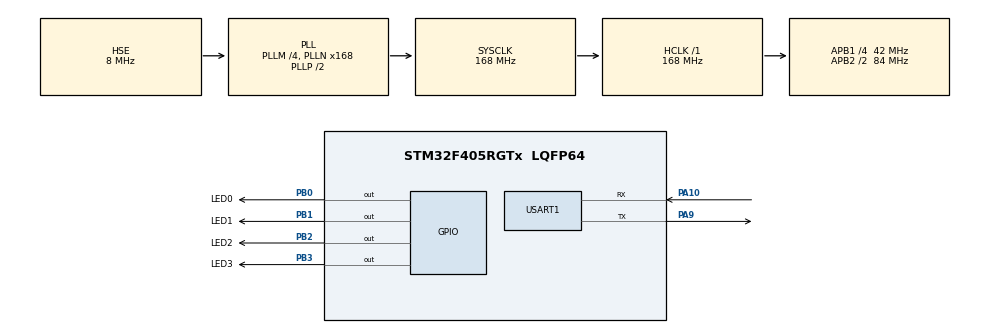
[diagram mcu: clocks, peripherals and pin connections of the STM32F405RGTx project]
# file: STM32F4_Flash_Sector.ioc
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Mcu.Family=STM32F4
Mcu.Name=STM32F405RGTx
Mcu.Package=LQFP64
NVIC.PriorityGroup=NVIC_PRIORITYGROUP_4
PA10.Mode=Asynchronous
PA10.Signal=USART1_RX
PA9.Mode=Asynchronous
PA9.Signal=USART1_TX
PB0.GPIO_Label=LED0
PB0.Signal=GPIO_Output
PB1.GPIO_Label=LED1
PB1.Signal=GPIO_Output
PB2.GPIO_Label=LED2
PB2.Signal=GPIO_Output
PB3.GPIO_Label=LED3
PB3.Signal=GPIO_Output
PH0-OSC_IN.Mode=HSE-External-Oscillator
PH0-OSC_IN.Signal=RCC_OSC_IN
PH1-OSC_OUT.Mode=HSE-External-Oscillator
PH1-OSC_OUT.Signal=RCC_OSC_OUT
ProjectManager.HeapSize=0x200
ProjectManager.StackSize=0x400
ProjectManager.TargetToolchain=STM32CubeIDE
RCC.48MHZClocksFreq_Value=84000000
RCC.AHBFreq_Value=168000000
RCC.APB1CLKDivider=RCC_HCLK_DIV4
RCC.APB1Freq_Value=42000000
RCC.APB1TimFreq_Value=84000000
RCC.APB2CLKDivider=RCC_HCLK_DIV2
RCC.APB2Freq_Value=84000000
RCC.APB2TimFreq_Value=168000000
RCC.CortexFreq_Value=168000000
RCC.HCLKFreq_Value=168000000
RCC.HSE_VALUE=8000000
RCC.HSI_VALUE=16000000
RCC.LSE_VALUE=32768
RCC.PLLM=4
RCC.PLLN=168
RCC.PLLSourceVirtual=RCC_PLLSOURCE_HSE
RCC.SYSCLKFreq_VALUE=168000000
RCC.SYSCLKSource=RCC_SYSCLKSOURCE_PLLCLK
RCC.VCOOutputFreq_Value=336000000
USART1.VirtualMode=VM_ASYNC
board=custom

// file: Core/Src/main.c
/* USER CODE BEGIN Header */
/**
  ******************************************************************************
  * @file           : main.c
  * @brief          : Main program body
  ******************************************************************************
  * @attention
  *
  * Copyright (c) 2022 STMicroelectronics.
  * All rights reserved.
  *
  * This software is licensed under terms that can be found in the LICENSE file
  * in the root directory of this software component.
  * If no LICENSE file comes with this software, it is provided AS-IS.
  *
  ******************************************************************************
  */
/* USER CODE END Header */
#include "main.h"

/* USER CODE BEGIN Includes */
#include <string.h>
#include <stdio.h>
#include "Flash.h"
/* USER CODE END Includes */

UART_HandleTypeDef huart1;

void SystemClock_Config(void);
static void MX_GPIO_Init(void);
static void MX_USART1_UART_Init(void);
/* USER CODE BEGIN PFP */
#ifdef __GNUC__
/* With GCC/RAISONANCE, small printf (option LD Linker->Libraries->Small printf
 set to 'Yes') calls __io_putchar() */
#define PUTCHAR_PROTOTYPE int __io_putchar(int ch)
#else
 #define PUTCHAR_PROTOTYPE int fputc(int ch, FILE *f)
#endif /* __GNUC__ */
/* USER CODE END PFP */

int main(void)
{
  /* USER CODE BEGIN 1 */
  uint8_t buffer[14] = "Hello World!\r\n";
  /* USER CODE END 1 */

  /* MCU Configuration--------------------------------------------------------*/

  /* Reset of all peripherals, Initializes the Flash interface and the Systick. */
  HAL_Init();

  /* Configure the system clock */
  SystemClock_Config();

  /* Initialize all configured peripherals */
  MX_GPIO_Init();
  MX_USART1_UART_Init();
  /* USER CODE BEGIN 2 */
  HAL_FLASH_Unlock();
  /* USER CODE END 2 */

  /* Infinite loop */
  /* USER CODE BEGIN WHILE */
  while (1)
  {
	  printf("Write to Flash\r\n");
	  FLASH_Write(0, buffer, sizeof(buffer), DATA_TYPE_8);
	  HAL_GPIO_TogglePin(LED0_GPIO_Port, LED0_Pin);
	  printf("Done!\r\n");
	  HAL_Delay(500);
    /* USER CODE END WHILE */

  }
}

void SystemClock_Config(void)
{
  RCC_OscInitTypeDef RCC_OscInitStruct = {0};
  RCC_ClkInitTypeDef RCC_ClkInitStruct = {0};

  /** Configure the main internal regulator output voltage
  */
  __HAL_RCC_PWR_CLK_ENABLE();
  __HAL_PWR_VOLTAGESCALING_CONFIG(PWR_REGULATOR_VOLTAGE_SCALE1);

  /** Initializes the RCC Oscillators according to the specified parameters
  * in the RCC_OscInitTypeDef structure.
  */
  RCC_OscInitStruct.OscillatorType = RCC_OSCILLATORTYPE_HSE;
  RCC_OscInitStruct.HSEState = RCC_HSE_ON;
  RCC_OscInitStruct.PLL.PLLState = RCC_PLL_ON;
  RCC_OscInitStruct.PLL.PLLSource = RCC_PLLSOURCE_HSE;
  RCC_OscInitStruct.PLL.PLLM = 4;
  RCC_OscInitStruct.PLL.PLLN = 168;
  RCC_OscInitStruct.PLL.PLLP = RCC_PLLP_DIV2;
  RCC_OscInitStruct.PLL.PLLQ = 4;
  if (HAL_RCC_OscConfig(&RCC_OscInitStruct) != HAL_OK)
  {
    Error_Handler();
  }

  /** Initializes the CPU, AHB and APB buses clocks
  */
  RCC_ClkInitStruct.ClockType = RCC_CLOCKTYPE_HCLK|RCC_CLOCKTYPE_SYSCLK
                              |RCC_CLOCKTYPE_PCLK1|RCC_CLOCKTYPE_PCLK2;
  RCC_ClkInitStruct.SYSCLKSource = RCC_SYSCLKSOURCE_PLLCLK;
  RCC_ClkInitStruct.AHBCLKDivider = RCC_SYSCLK_DIV1;
  RCC_ClkInitStruct.APB1CLKDivider = RCC_HCLK_DIV4;
  RCC_ClkInitStruct.APB2CLKDivider = RCC_HCLK_DIV2;

  if (HAL_RCC_ClockConfig(&RCC_ClkInitStruct, FLASH_LATENCY_5) != HAL_OK)
  {
    Error_Handler();
  }
}

static void MX_USART1_UART_Init(void)
{

  huart1.Instance = USART1;
  huart1.Init.BaudRate = 115200;
  huart1.Init.WordLength = UART_WORDLENGTH_8B;
  huart1.Init.StopBits = UART_STOPBITS_1;
  huart1.Init.Parity = UART_PARITY_NONE;
  huart1.Init.Mode = UART_MODE_TX_RX;
  huart1.Init.HwFlowCtl = UART_HWCONTROL_NONE;
  huart1.Init.OverSampling = UART_OVERSAMPLING_16;
  if (HAL_UART_Init(&huart1) != HAL_OK)
  {
    Error_Handler();
  }

}

static void MX_GPIO_Init(void)
{
  GPIO_InitTypeDef GPIO_InitStruct = {0};

  /* GPIO Ports Clock Enable */
  __HAL_RCC_GPIOH_CLK_ENABLE();
  __HAL_RCC_GPIOB_CLK_ENABLE();
  __HAL_RCC_GPIOA_CLK_ENABLE();

  /*Configure GPIO pin Output Level */
  HAL_GPIO_WritePin(GPIOB, LED0_Pin|LED1_Pin|LED2_Pin|LED3_Pin, GPIO_PIN_RESET);

  /*Configure GPIO pins : LED0_Pin LED1_Pin LED2_Pin LED3_Pin */
  GPIO_InitStruct.Pin = LED0_Pin|LED1_Pin|LED2_Pin|LED3_Pin;
  GPIO_InitStruct.Mode = GPIO_MODE_OUTPUT_PP;
  GPIO_InitStruct.Pull = GPIO_NOPULL;
  GPIO_InitStruct.Speed = GPIO_SPEED_FREQ_LOW;
  HAL_GPIO_Init(GPIOB, &GPIO_InitStruct);

}

/* USER CODE BEGIN 4 */

/**
 * @brief Retargets the C library printf function to the USART.
 * @param None
 * @retval None
 */
PUTCHAR_PROTOTYPE
{
  /* Place your implementation of fputc here */
  /* e.g. write a character to the USART */
  HAL_UART_Transmit(&huart1, (uint8_t*) &ch, 1, 100);
  return ch;
}

/* USER CODE END 4 */

void Error_Handler(void)
{
  __disable_irq();
  while (1)
  {
  }
}
